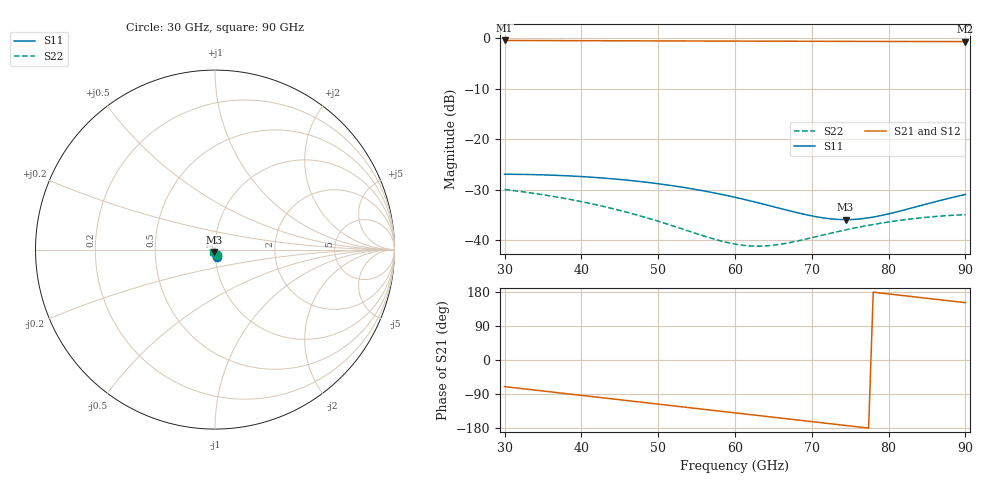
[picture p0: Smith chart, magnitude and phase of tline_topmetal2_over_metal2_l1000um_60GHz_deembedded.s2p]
! Created with skrf 2.0.1 (http://scikit-rf.org).
# GHz S DB R 50.0
!freq dBS11 angS11 dBS21 angS21 dBS12 angS12 dBS22 angS22
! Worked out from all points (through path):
!   101 points, 30 GHz to 90 GHz, reference 50 ohm
!   highest |S21| = -0.45 dB at 30 GHz (marker M1); lowest = -0.7 dB at 90 GHz (marker M2)
!   group delay of S21, straight-line fit = 6.41 ps
!   lowest |S11| = -35.9 dB at 74.4 GHz (marker M3), VSWR 1.03, Z = 49.7 - j1.56 ohm
!   |S11| at or under -10 dB: start of sweep to end of sweep
!   |S22| runs from -41.2 to -30.0 dB; largest |S21 - S12| = 1.1e-14
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30  -26.96 -72.0  -0.45 -70.2  -0.45 -70.2  -29.98 -73.3
33  -27.01 -79.3  -0.47 -77.2  -0.47 -77.2  -30.56 -81.3
35.4  -27.10 -85.0  -0.48 -82.7  -0.48 -82.7  -31.11 -87.4
37.8  -27.24 -90.5  -0.49 -88.3  -0.49 -88.3  -31.74 -93.3
40.2  -27.43 -95.7  -0.50 -93.8  -0.50 -93.8  -32.45 -98.9
42.6  -27.68 -100.6  -0.51 -99.4  -0.51 -99.4  -33.24 -104.0
45  -27.99 -105.3  -0.52 -104.9  -0.52 -104.9  -34.12 -108.6
47.4  -28.36 -109.7  -0.53 -110.4  -0.53 -110.4  -35.10 -112.4
50.4  -28.92 -114.6  -0.54 -117.4  -0.54 -117.4  -36.46 -115.8
55.2  -30.05 -121.1  -0.56 -128.4  -0.56 -128.4  -38.82 -116.2
58.2  -30.93 -123.8  -0.57 -135.4  -0.57 -135.4  -40.18 -112.0
60  -31.52 -124.9  -0.58 -139.5  -0.58 -139.5  -40.79 -107.7
62.4  -32.38 -125.3  -0.59 -145.1  -0.59 -145.1  -41.19 -100.7
64.2  -33.07 -124.7  -0.60 -149.2  -0.60 -149.2  -41.13 -95.4
66.6  -34.00 -122.4  -0.60 -154.7  -0.60 -154.7  -40.65 -89.8
70.2  -35.26 -115.1  -0.62 -163.0  -0.62 -163.0  -39.45 -85.8
72.6  -35.81 -107.6  -0.63 -168.6  -0.63 -168.6  -38.59 -86.0
74.4  -35.94 -101.2  -0.63 -172.7  -0.63 -172.7  -37.98 -87.2
77.4  -35.58 -90.5  -0.64 -179.6  -0.64 -179.6  -37.07 -91.1
80.4  -34.66 -82.2  -0.65 173.4  -0.65 173.4  -36.32 -96.4
85.2  -32.75 -75.3  -0.67 162.4  -0.67 162.4  -35.45 -107.3
90  -30.96 -74.3  -0.68 151.3  -0.68 151.3  -34.96 -119.9
